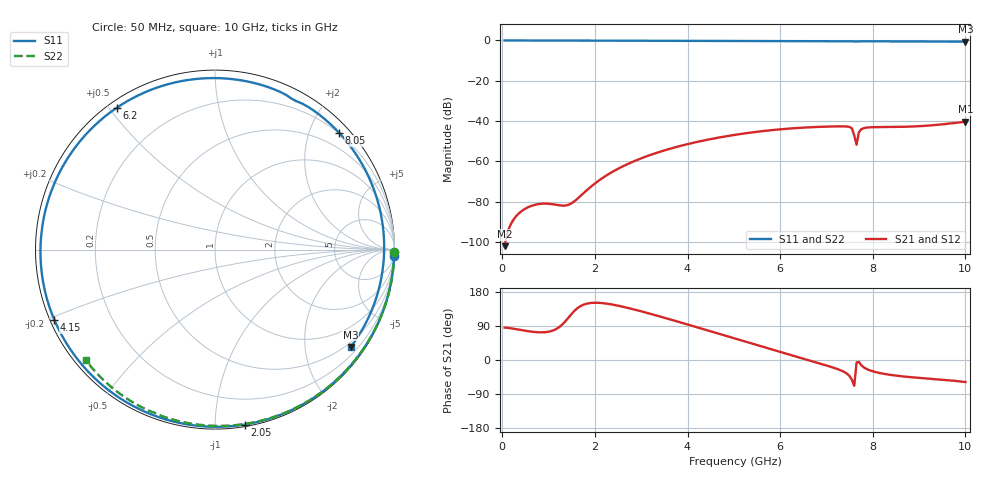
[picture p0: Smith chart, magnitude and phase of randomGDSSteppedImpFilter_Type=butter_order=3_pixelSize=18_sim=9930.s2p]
! freq	dB(S11)	phase(S11)	dB(S12)	phase(S12)
!  dB(S21)	phase(S21)	dB(S22)	phase(S22)
!S-par simulation data
#  GHz  S  DB  R 50
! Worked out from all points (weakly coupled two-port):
!   200 points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, 50 MHz to 10 GHz, reference 50 ohm
!   highest |S21| = -40.31 dB at 10 GHz (marker M1); lowest = -102.1 dB at 50 MHz (marker M2)
!   lowest |S11| = -0.6 dB at 10 GHz (marker M3), VSWR 27.77, Z = 19 - j153 ohm
!   |S11| at or under -10 dB: nowhere
!   |S22| runs from -0.5 to 0.0 dB; largest |S21 - S12| = 0
!   S11 on the Smith chart (normalised r, x): 50 MHz: 2, -58; 2.05 GHz: 0.01, -1.18; 4.15 GHz: 0.01, -0.21; 6.2 GHz: 0.03, +0.52; 8.05 GHz: 0.19, +2.51; 10 GHz: 0.38, -3.07
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0.05  -0.01 -2.0  -102.12 85.3  -102.12 85.3  -0.00 -0.8
0.75  -0.04 -30.2  -81.36 73.4  -81.36 73.4  -0.01 -12.1
1.55  -0.08 -61.4  -79.96 128.8  -79.96 128.8  -0.03 -24.8
1.75  -0.09 -69.1  -75.91 145.7  -75.91 145.7  -0.04 -27.9
2.05  -0.10 -80.3  -70.15 151.0  -70.15 151.0  -0.04 -32.6
2.7  -0.13 -104.2  -61.43 137.8  -61.43 137.8  -0.06 -42.5
3.4  -0.16 -129.4  -55.29 115.0  -55.29 115.0  -0.07 -53.0
4.15  -0.20 -156.3  -50.66 88.4  -50.66 88.4  -0.09 -64.0
5.05  -0.26 170.5  -46.77 55.7  -46.77 55.7  -0.12 -76.6
5.6  -0.30 149.2  -45.07 35.6  -45.07 35.6  -0.14 -84.1
6.2  -0.34 124.8  -43.74 14.0  -43.74 14.0  -0.17 -92.1
6.7  -0.38 103.4  -43.04 -3.7  -43.04 -3.7  -0.19 -98.6
7.1  -0.40 85.7  -42.72 -18.2  -42.72 -18.2  -0.21 -103.7
7.5  -0.44 67.6  -42.95 -42.7  -42.95 -42.7  -0.24 -108.8
7.55  -0.46 65.3  -43.67 -52.6  -43.67 -52.6  -0.25 -109.5
7.65  -0.51 61.3  -51.79 -6.4  -51.79 -6.4  -0.27 -110.6
7.7  -0.47 59.2  -45.61 -5.0  -45.61 -5.0  -0.27 -111.2
7.75  -0.45 56.9  -44.11 -13.5  -44.11 -13.5  -0.27 -111.8
8.05  -0.45 43.3  -43.03 -31.5  -43.03 -31.5  -0.28 -115.6
8.35  -0.46 30.0  -42.96 -38.7  -42.96 -38.7  -0.31 -119.3
9.1  -0.52 -1.6  -42.43 -48.1  -42.43 -48.1  -0.37 -128.5
10  -0.63 -35.6  -40.31 -58.1  -40.31 -58.1  -0.47 -139.4
